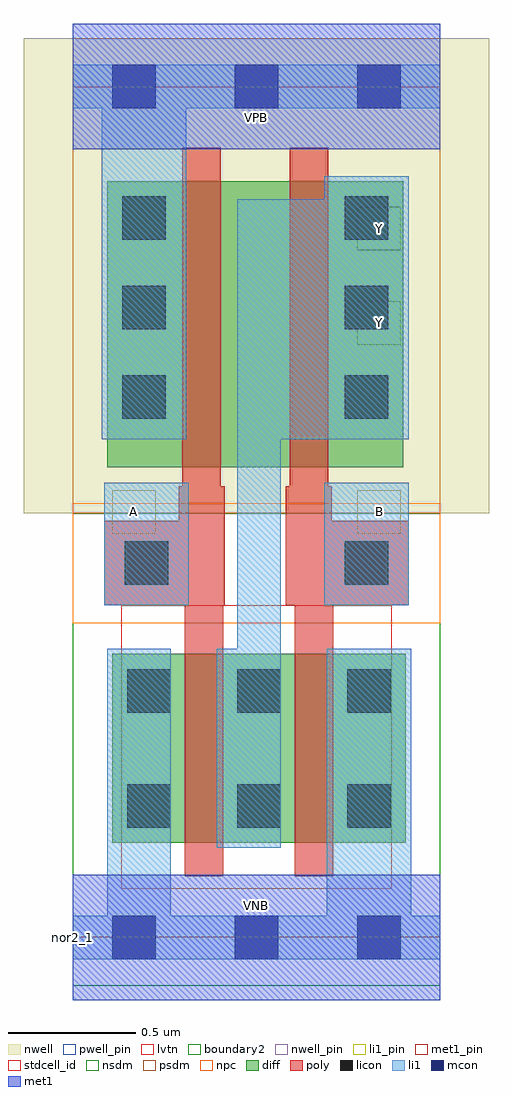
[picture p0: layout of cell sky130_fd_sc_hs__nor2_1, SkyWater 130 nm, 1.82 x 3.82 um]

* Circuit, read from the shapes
.subckt sky130_fd_sc_hs__nor2_1 A B VGND VNB VPB VPWR Y
XM1 Y A VGND VNB sky130_fd_pr__nfet_01v8_lvt w=0.74 l=0.15
XM2 VGND B Y VNB sky130_fd_pr__nfet_01v8_lvt w=0.74 l=0.15
XM3 n1 A VPWR VPB sky130_fd_pr__pfet_01v8 w=1.12 l=0.15
XM4 Y B n1 VPB sky130_fd_pr__pfet_01v8 w=1.12 l=0.15
.ends

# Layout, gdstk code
import gdstk
lib = gdstk.Library(unit=1e-6, precision=1e-09)
def R(c, l, rs):  # rectangles x0, y0, x1, y1
    for r in rs: c.add(gdstk.rectangle(r[:2], r[2:], *l))
def A(c, l, x, y, w, h, nx, ny, dx, dy):  # array of equal rectangles
    R(c, l, [(x+i*dx, y+j*dy, x+i*dx+w, y+j*dy+h) for i in range(nx) for j in range(ny)])
def P(c, l, *ps):  # polygons
    for p in ps: c.add(gdstk.Polygon(p, *l))
nwell_pin = (64, 16)
nwell = (64, 20)
diff = (65, 20)
poly = (66, 20)
licon = (66, 44)
li1_pin = (67, 16)
li1 = (67, 20)
mcon = (67, 44)
met1_pin = (68, 16)
met1 = (68, 20)
stdcell_id = (81, 4)
nsdm = (93, 44)
psdm = (94, 20)
npc = (95, 20)
pwell_pin = (122, 16)
lvtn = (125, 44)
boundary2 = (236, 0)

sky130_fd_sc_hs__nor2_1 = lib.new_cell('sky130_fd_sc_hs__nor2_1')
R(sky130_fd_sc_hs__nor2_1, nwell_pin, [(0,3.085,1.44,3.33)])
R(sky130_fd_sc_hs__nor2_1, nwell, [(-0.19,1.66,1.63,3.52)])
R(sky130_fd_sc_hs__nor2_1, diff, [(0.155,0.37,1.305,1.11), (0.135,1.84,1.295,2.96)])
P(sky130_fd_sc_hs__nor2_1, poly, [(0.595,1.765),(0.58,1.765),(0.58,3.09),(0.43,3.09),(0.43,1.765),(0.415,1.765),(0.415,1.63),(0.125,1.63),(0.125,1.3),(0.44,1.3),(0.44,0.24),(0.59,0.24),(0.59,1.3),(0.595,1.3)],
  [(1.315,1.63),(1.015,1.63),(1.015,1.765),(1,1.765),(1,3.09),(0.85,3.09),(0.85,1.765),(0.835,1.765),(0.835,1.3),(0.87,1.3),(0.87,0.24),(1.02,0.24),(1.02,1.3),(1.315,1.3)])
A(sky130_fd_sc_hs__nor2_1, licon, 0.215, 0.43, 0.17, 0.17, 3, 2, 0.43, 0.45)
A(sky130_fd_sc_hs__nor2_1, licon, 0.195, 2.03, 0.17, 0.17, 1, 3, 0, 0.35)
A(sky130_fd_sc_hs__nor2_1, licon, 1.065, 2.03, 0.17, 0.17, 1, 3, 0, 0.35)
R(sky130_fd_sc_hs__nor2_1, licon, [(0.205,1.38,0.375,1.55), (1.065,1.38,1.235,1.55)])
R(sky130_fd_sc_hs__nor2_1, li1_pin, [(0.155,1.58,0.325,1.75), (1.115,1.58,1.285,1.75), (1.115,2.32,1.285,2.49), (1.115,2.69,1.285,2.86)])
R(sky130_fd_sc_hs__nor2_1, li1, [(0.125,1.3,0.455,1.78), (0.985,1.3,1.315,1.78)])
P(sky130_fd_sc_hs__nor2_1, li1, [(0,-0.085),(0,0.085),(0.135,0.085),(0.135,1.13),(0.385,1.13),(0.385,0.085),(0.995,0.085),(0.995,1.13),(1.325,1.13),(1.325,0.085),(1.44,0.085),(1.44,-0.085)],
  [(0,3.245),(0,3.415),(1.44,3.415),(1.44,3.245),(0.445,3.245),(0.445,1.95),(0.115,1.95),(0.115,3.245)],
  [(0.985,2.89),(0.985,2.98),(1.315,2.98),(1.315,1.95),(0.815,1.95),(0.815,0.35),(0.565,0.35),(0.565,1.13),(0.645,1.13),(0.645,2.89)])
A(sky130_fd_sc_hs__nor2_1, mcon, 0.155, -0.085, 0.17, 0.17, 3, 2, 0.48, 3.33)
R(sky130_fd_sc_hs__nor2_1, met1_pin, [(0,0,1.44,0.245), (0,3.085,1.44,3.33)])
R(sky130_fd_sc_hs__nor2_1, met1, [(0,-0.245,1.44,0.245), (0,3.085,1.44,3.575)])
R(sky130_fd_sc_hs__nor2_1, stdcell_id, [(0,0,1.44,3.33)])
R(sky130_fd_sc_hs__nor2_1, nsdm, [(0,-0.19,1.44,1.66)])
R(sky130_fd_sc_hs__nor2_1, psdm, [(0,1.66,1.44,3.52)])
R(sky130_fd_sc_hs__nor2_1, npc, [(0,1.23,1.44,1.7)])
R(sky130_fd_sc_hs__nor2_1, pwell_pin, [(0,0,1.44,0.245)])
R(sky130_fd_sc_hs__nor2_1, lvtn, [(0.19,0.19,1.25,1.3)])
R(sky130_fd_sc_hs__nor2_1, boundary2, [(0,0,1.44,3.33)])
sky130_fd_sc_hs__nor2_1.add(gdstk.Label('nor2_1', (0,0), layer=83, texttype=44))
sky130_fd_sc_hs__nor2_1.add(gdstk.Label('VNB', (0.72,0.123), layer=64, texttype=59))
sky130_fd_sc_hs__nor2_1.add(gdstk.Label('VPB', (0.72,3.208), layer=64, texttype=5))
sky130_fd_sc_hs__nor2_1.add(gdstk.Label('VPWR', (0.72,3.208), layer=68, texttype=5))
sky130_fd_sc_hs__nor2_1.add(gdstk.Label('VGND', (0.72,0.123), layer=68, texttype=5))
sky130_fd_sc_hs__nor2_1.add(gdstk.Label('B', (1.2,1.665), layer=67, texttype=5))
sky130_fd_sc_hs__nor2_1.add(gdstk.Label('Y', (1.2,2.405), layer=67, texttype=5))
sky130_fd_sc_hs__nor2_1.add(gdstk.Label('Y', (1.2,2.775), layer=67, texttype=5))
sky130_fd_sc_hs__nor2_1.add(gdstk.Label('A', (0.24,1.665), layer=67, texttype=5))

lib.write_gds('sky130_fd_sc_hs__nor2_1.gds')
